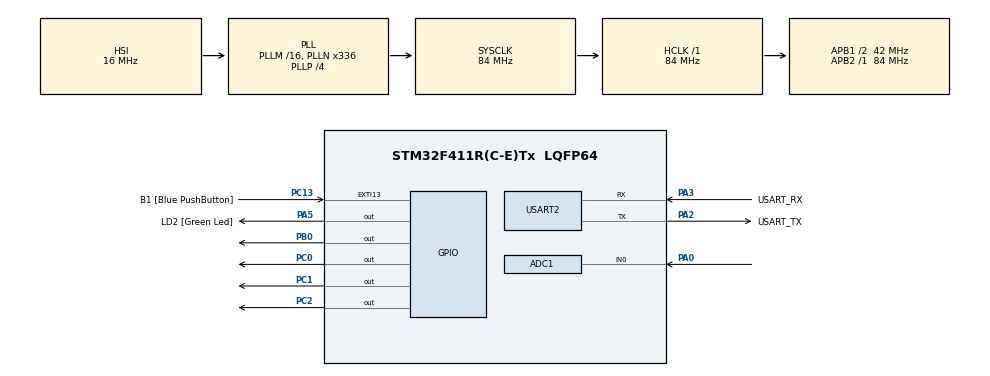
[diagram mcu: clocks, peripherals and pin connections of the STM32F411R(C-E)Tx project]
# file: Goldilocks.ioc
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ADC1.Channel-1\#ChannelRegularConversion=ADC_CHANNEL_0
ADC1.NbrOfConversionFlag=1
ADC1.Rank-1\#ChannelRegularConversion=1
ADC1.SamplingTime-1\#ChannelRegularConversion=ADC_SAMPLETIME_3CYCLES
ADC1.master=1
Mcu.Family=STM32F4
Mcu.Name=STM32F411R(C-E)Tx
Mcu.Package=LQFP64
NVIC.EXTI15_10_IRQn=true\:0\:0\:false\:false\:true\:true\:true\:true
NVIC.PriorityGroup=NVIC_PRIORITYGROUP_0
PA0-WKUP.Signal=ADCx_IN0
PA13.GPIO_Label=TMS
PA13.Mode=Serial_Wire
PA13.Signal=SYS_JTMS-SWDIO
PA14.GPIO_Label=TCK
PA14.Mode=Serial_Wire
PA14.Signal=SYS_JTCK-SWCLK
PA2.GPIO_Label=USART_TX
PA2.Mode=Asynchronous
PA2.Signal=USART2_TX
PA3.GPIO_Label=USART_RX
PA3.Mode=Asynchronous
PA3.Signal=USART2_RX
PA5.GPIO_Label=LD2 [Green Led]
PA5.Signal=GPIO_Output
PB0.GPIO_ModeDefaultOutputPP=GPIO_MODE_OUTPUT_OD
PB0.GPIO_PuPd=GPIO_PULLUP
PB0.Signal=GPIO_Output
PB3.GPIO_Label=SWO
PB3.Signal=SYS_JTDO-SWO
PC0.Signal=GPIO_Output
PC1.Signal=GPIO_Output
PC13-ANTI_TAMP.GPIO_Label=B1 [Blue PushButton]
PC13-ANTI_TAMP.GPIO_ModeDefaultEXTI=GPIO_MODE_IT_RISING
PC13-ANTI_TAMP.Signal=GPXTI13
PC14-OSC32_IN.Mode=LSE-External-Oscillator
PC14-OSC32_IN.Signal=RCC_OSC32_IN
PC15-OSC32_OUT.Mode=LSE-External-Oscillator
PC15-OSC32_OUT.Signal=RCC_OSC32_OUT
PC2.Signal=GPIO_Output
PH0\ -\ OSC_IN.Mode=HSE-External-Clock-Source
PH0\ -\ OSC_IN.Signal=RCC_OSC_IN
PH1\ -\ OSC_OUT.Mode=HSE-External-Clock-Source
PH1\ -\ OSC_OUT.Signal=RCC_OSC_OUT
ProjectManager.HeapSize=0x200
ProjectManager.StackSize=0x400
ProjectManager.TargetToolchain=STM32CubeIDE
RCC.48MHZClocksFreq_Value=84000000
RCC.AHBFreq_Value=84000000
RCC.APB1CLKDivider=RCC_HCLK_DIV2
RCC.APB1Freq_Value=42000000
RCC.APB1TimFreq_Value=84000000
RCC.APB2Freq_Value=84000000
RCC.APB2TimFreq_Value=84000000
RCC.CortexFreq_Value=84000000
RCC.FLatency-AdvancedSettings=FLASH_LATENCY_2
RCC.HCLKFreq_Value=84000000
RCC.HSE_VALUE=8000000
RCC.HSI_VALUE=16000000
RCC.PLLN=336
RCC.PLLP=RCC_PLLP_DIV4
RCC.SYSCLKFreq_VALUE=84000000
RCC.SYSCLKSource=RCC_SYSCLKSOURCE_PLLCLK
RCC.VCOOutputFreq_Value=336000000
SH.ADCx_IN0.0=ADC1_IN0,IN0
USART2.VirtualMode=VM_ASYNC
board=NUCLEO-F411RE

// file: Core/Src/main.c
/* USER CODE BEGIN Header */
/**
  ******************************************************************************
  * @file           : main.c
  * @brief          : Main program body
  ******************************************************************************
  * @attention
  *
  * Copyright (c) 2026 STMicroelectronics.
  * All rights reserved.
  *
  * This software is licensed under terms that can be found in the LICENSE file
  * in the root directory of this software component.
  * If no LICENSE file comes with this software, it is provided AS-IS.
  *
  ******************************************************************************
  */
/* USER CODE END Header */
#include "main.h"

/* USER CODE BEGIN Includes */
#include <stdio.h>
#include <string.h>
/* USER CODE END Includes */

/* USER CODE BEGIN PD */
#define SOIL_ADC_TIMEOUT_MS       100U
#define SENSOR_INTERVAL_MS        5000U
#define BUTTON_DEBOUNCE_MS        200U
#define DHT_DATA_PORT             GPIOB
#define DHT_DATA_PIN              GPIO_PIN_0
#define RGB_PORT                  GPIOC
#define RGB_RED_PIN               GPIO_PIN_0
#define RGB_GREEN_PIN             GPIO_PIN_1
#define RGB_BLUE_PIN              GPIO_PIN_2
/* USER CODE END PD */

ADC_HandleTypeDef hadc1;

UART_HandleTypeDef huart2;

/* USER CODE BEGIN PV */
typedef enum
{
  LED_OFF = 0,
  LED_RED,
  LED_GREEN,
  LED_BLUE
} RGB_State_t;

volatile RGB_State_t rgb_state = LED_OFF;
static uint32_t last_button_tick = 0;
static uint32_t cycles_per_us = 84U;
/* USER CODE END PV */

void SystemClock_Config(void);
static void MX_GPIO_Init(void);
static void MX_USART2_UART_Init(void);
static void MX_ADC1_Init(void);
/* USER CODE BEGIN PFP */
static void DWT_Delay_Init(void);
static void delay_us(uint32_t us);
static uint8_t DHT11_Read(uint8_t *humidity, uint8_t *temperature);
static uint8_t DHT11_WaitForLevel(GPIO_PinState level, uint32_t timeout_us);
static uint16_t Soil_ReadADC(void);
static void RGB_Set(RGB_State_t state);
/* USER CODE END PFP */

/* USER CODE BEGIN 0 */
/* DWT cycle counter provides microsecond timing for the DHT11 protocol. */
static void DWT_Delay_Init(void)
{
  CoreDebug->DEMCR |= CoreDebug_DEMCR_TRCENA_Msk;
  DWT->CYCCNT = 0;
  DWT->CTRL |= DWT_CTRL_CYCCNTENA_Msk;
  cycles_per_us = HAL_RCC_GetHCLKFreq() / 1000000U;
  if (cycles_per_us == 0U) cycles_per_us = 1U;
}

static void delay_us(uint32_t us)
{
  uint32_t start = DWT->CYCCNT;
  uint32_t cycles = us * cycles_per_us;
  while ((uint32_t)(DWT->CYCCNT - start) < cycles) { }
}

static uint8_t DHT11_WaitForLevel(GPIO_PinState level, uint32_t timeout_us)
{
  uint32_t start = DWT->CYCCNT;
  uint32_t timeout_cycles = timeout_us * cycles_per_us;

  while (HAL_GPIO_ReadPin(DHT_DATA_PORT, DHT_DATA_PIN) != level)
  {
    if ((uint32_t)(DWT->CYCCNT - start) >= timeout_cycles)
      return 0U;
  }
  return 1U;
}

/* Reads the KY-015 (DHT11-compatible) sensor. Returns 1 on valid data. */
static uint8_t DHT11_Read(uint8_t *humidity, uint8_t *temperature)
{
  GPIO_InitTypeDef GPIO_InitStruct = {0};
  uint8_t data[5] = {0};

  /* Host start pulse: hold DATA low for at least 18 ms. */
  GPIO_InitStruct.Pin = DHT_DATA_PIN;
  GPIO_InitStruct.Mode = GPIO_MODE_OUTPUT_OD;
  GPIO_InitStruct.Pull = GPIO_PULLUP;
  GPIO_InitStruct.Speed = GPIO_SPEED_FREQ_LOW;
  HAL_GPIO_Init(DHT_DATA_PORT, &GPIO_InitStruct);
  HAL_GPIO_WritePin(DHT_DATA_PORT, DHT_DATA_PIN, GPIO_PIN_SET);
  HAL_GPIO_WritePin(DHT_DATA_PORT, DHT_DATA_PIN, GPIO_PIN_RESET);
  HAL_Delay(18);
  HAL_GPIO_WritePin(DHT_DATA_PORT, DHT_DATA_PIN, GPIO_PIN_SET);
  delay_us(30);

  /* Release the bus so the sensor can respond. */
  GPIO_InitStruct.Mode = GPIO_MODE_INPUT;
  GPIO_InitStruct.Pull = GPIO_PULLUP;
  HAL_GPIO_Init(DHT_DATA_PORT, &GPIO_InitStruct);

  if (!DHT11_WaitForLevel(GPIO_PIN_RESET, 120U)) goto dht_error;
  if (!DHT11_WaitForLevel(GPIO_PIN_SET, 120U)) goto dht_error;
  if (!DHT11_WaitForLevel(GPIO_PIN_RESET, 120U)) goto dht_error;

  /* Each bit starts with a low pulse, followed by a high pulse.
     A longer high pulse represents logic 1. */
  for (uint8_t bit = 0; bit < 40U; bit++)
  {
    uint32_t high_start;
    uint32_t high_cycles;

    if (!DHT11_WaitForLevel(GPIO_PIN_SET, 100U)) goto dht_error;
    high_start = DWT->CYCCNT;
    if (!DHT11_WaitForLevel(GPIO_PIN_RESET, 100U)) goto dht_error;
    high_cycles = (uint32_t)(DWT->CYCCNT - high_start);

    data[bit / 8U] <<= 1;
    if (high_cycles > (40U * cycles_per_us))
      data[bit / 8U] |= 1U;
  }

  /* Return PB0 to its idle, released open-drain state. */
  GPIO_InitStruct.Mode = GPIO_MODE_OUTPUT_OD;
  GPIO_InitStruct.Pull = GPIO_PULLUP;
  HAL_GPIO_Init(DHT_DATA_PORT, &GPIO_InitStruct);
  HAL_GPIO_WritePin(DHT_DATA_PORT, DHT_DATA_PIN, GPIO_PIN_SET);

  if ((uint8_t)(data[0] + data[1] + data[2] + data[3]) != data[4])
    return 0U;

  *humidity = data[0];
  *temperature = data[2];
  return 1U;

dht_error:
  /* Restore the pin to its idle state even if communication times out. */
  GPIO_InitStruct.Mode = GPIO_MODE_OUTPUT_OD;
  GPIO_InitStruct.Pull = GPIO_PULLUP;
  HAL_GPIO_Init(DHT_DATA_PORT, &GPIO_InitStruct);
  HAL_GPIO_WritePin(DHT_DATA_PORT, DHT_DATA_PIN, GPIO_PIN_SET);
  return 0U;
}

static uint16_t Soil_ReadADC(void)
{
  uint16_t value = 0;
  if (HAL_ADC_Start(&hadc1) == HAL_OK)
  {
    if (HAL_ADC_PollForConversion(&hadc1, SOIL_ADC_TIMEOUT_MS) == HAL_OK)
      value = (uint16_t)HAL_ADC_GetValue(&hadc1);
    HAL_ADC_Stop(&hadc1);
  }
  return value;
}

/* Assumes a common-cathode RGB LED module (HIGH = colour ON). */
static void RGB_Set(RGB_State_t state)
{
  HAL_GPIO_WritePin(RGB_PORT, RGB_RED_PIN | RGB_GREEN_PIN | RGB_BLUE_PIN,
                    GPIO_PIN_RESET);
  if (state == LED_RED)
    HAL_GPIO_WritePin(RGB_PORT, RGB_RED_PIN, GPIO_PIN_SET);
  else if (state == LED_GREEN)
    HAL_GPIO_WritePin(RGB_PORT, RGB_GREEN_PIN, GPIO_PIN_SET);
  else if (state == LED_BLUE)
    HAL_GPIO_WritePin(RGB_PORT, RGB_BLUE_PIN, GPIO_PIN_SET);
}
/* USER CODE END 0 */

int main(void)
{

  /* MCU Configuration--------------------------------------------------------*/

  /* Reset of all peripherals, Initializes the Flash interface and the Systick. */
  HAL_Init();

  /* Configure the system clock */
  SystemClock_Config();

  /* Initialize all configured peripherals */
  MX_GPIO_Init();
  MX_USART2_UART_Init();
  MX_ADC1_Init();
  /* USER CODE BEGIN 2 */
  DWT_Delay_Init();
  RGB_Set(LED_OFF);
  HAL_GPIO_WritePin(DHT_DATA_PORT, DHT_DATA_PIN, GPIO_PIN_SET);
  /* USER CODE END 2 */

  /* Infinite loop */
  while (1)
  {

    /* USER CODE BEGIN 3 */
    static uint32_t last_sample_tick = 0;
    static char uart_message[160];
    uint32_t now = HAL_GetTick();

    /* Reflect the latest button-selected RGB colour. */
    RGB_Set(rgb_state);

    /* Read both sensors and transmit a line every 5 seconds. */
    if ((now - last_sample_tick) >= SENSOR_INTERVAL_MS)
    {
      uint16_t soil_raw;
      uint32_t soil_millivolts;
      uint8_t humidity = 0;
      uint8_t temperature = 0;
      uint8_t dht_ok;
      int length;

      last_sample_tick = now;
      soil_raw = Soil_ReadADC();
      soil_millivolts = ((uint32_t)soil_raw * 3300U) / 4095U;
      dht_ok = DHT11_Read(&humidity, &temperature);

      if (dht_ok)
      {
        length = snprintf(uart_message, sizeof(uart_message),
                          "Soil_ADC=%u, Soil_mV=%lu, Temperature=%u C, Humidity=%u %%\r\n",
                          soil_raw, (unsigned long)soil_millivolts,
                          temperature, humidity);
      }
      else
      {
        length = snprintf(uart_message, sizeof(uart_message),
                          "Soil_ADC=%u, Soil_mV=%lu, DHT11=READ_ERROR\r\n",
                          soil_raw, (unsigned long)soil_millivolts);
      }

      if (length > 0)
        HAL_UART_Transmit(&huart2, (uint8_t *)uart_message,
                          (uint16_t)length, HAL_MAX_DELAY);
    }
  }
  /* USER CODE END 3 */
}

void SystemClock_Config(void)
{
  RCC_OscInitTypeDef RCC_OscInitStruct = {0};
  RCC_ClkInitTypeDef RCC_ClkInitStruct = {0};

  /** Configure the main internal regulator output voltage
  */
  __HAL_RCC_PWR_CLK_ENABLE();
  __HAL_PWR_VOLTAGESCALING_CONFIG(PWR_REGULATOR_VOLTAGE_SCALE1);

  /** Initializes the RCC Oscillators according to the specified parameters
  * in the RCC_OscInitTypeDef structure.
  */
  RCC_OscInitStruct.OscillatorType = RCC_OSCILLATORTYPE_HSI;
  RCC_OscInitStruct.HSIState = RCC_HSI_ON;
  RCC_OscInitStruct.HSICalibrationValue = RCC_HSICALIBRATION_DEFAULT;
  RCC_OscInitStruct.PLL.PLLState = RCC_PLL_ON;
  RCC_OscInitStruct.PLL.PLLSource = RCC_PLLSOURCE_HSI;
  RCC_OscInitStruct.PLL.PLLM = 16;
  RCC_OscInitStruct.PLL.PLLN = 336;
  RCC_OscInitStruct.PLL.PLLP = RCC_PLLP_DIV4;
  RCC_OscInitStruct.PLL.PLLQ = 4;
  if (HAL_RCC_OscConfig(&RCC_OscInitStruct) != HAL_OK)
  {
    Error_Handler();
  }

  /** Initializes the CPU, AHB and APB buses clocks
  */
  RCC_ClkInitStruct.ClockType = RCC_CLOCKTYPE_HCLK|RCC_CLOCKTYPE_SYSCLK
                              |RCC_CLOCKTYPE_PCLK1|RCC_CLOCKTYPE_PCLK2;
  RCC_ClkInitStruct.SYSCLKSource = RCC_SYSCLKSOURCE_PLLCLK;
  RCC_ClkInitStruct.AHBCLKDivider = RCC_SYSCLK_DIV1;
  RCC_ClkInitStruct.APB1CLKDivider = RCC_HCLK_DIV2;
  RCC_ClkInitStruct.APB2CLKDivider = RCC_HCLK_DIV1;

  if (HAL_RCC_ClockConfig(&RCC_ClkInitStruct, FLASH_LATENCY_2) != HAL_OK)
  {
    Error_Handler();
  }
}

static void MX_ADC1_Init(void)
{

  ADC_ChannelConfTypeDef sConfig = {0};

  /** Configure the global features of the ADC (Clock, Resolution, Data Alignment and number of conversion)
  */
  hadc1.Instance = ADC1;
  hadc1.Init.ClockPrescaler = ADC_CLOCK_SYNC_PCLK_DIV4;
  hadc1.Init.Resolution = ADC_RESOLUTION_12B;
  hadc1.Init.ScanConvMode = DISABLE;
  hadc1.Init.ContinuousConvMode = DISABLE;
  hadc1.Init.DiscontinuousConvMode = DISABLE;
  hadc1.Init.ExternalTrigConvEdge = ADC_EXTERNALTRIGCONVEDGE_NONE;
  hadc1.Init.ExternalTrigConv = ADC_SOFTWARE_START;
  hadc1.Init.DataAlign = ADC_DATAALIGN_RIGHT;
  hadc1.Init.NbrOfConversion = 1;
  hadc1.Init.DMAContinuousRequests = DISABLE;
  hadc1.Init.EOCSelection = ADC_EOC_SINGLE_CONV;
  if (HAL_ADC_Init(&hadc1) != HAL_OK)
  {
    Error_Handler();
  }

  /** Configure for the selected ADC regular channel its corresponding rank in the sequencer and its sample time.
  */
  sConfig.Channel = ADC_CHANNEL_0;
  sConfig.Rank = 1;
  sConfig.SamplingTime = ADC_SAMPLETIME_3CYCLES;
  if (HAL_ADC_ConfigChannel(&hadc1, &sConfig) != HAL_OK)
  {
    Error_Handler();
  }

}

static void MX_USART2_UART_Init(void)
{

  huart2.Instance = USART2;
  huart2.Init.BaudRate = 115200;
  huart2.Init.WordLength = UART_WORDLENGTH_8B;
  huart2.Init.StopBits = UART_STOPBITS_1;
  huart2.Init.Parity = UART_PARITY_NONE;
  huart2.Init.Mode = UART_MODE_TX_RX;
  huart2.Init.HwFlowCtl = UART_HWCONTROL_NONE;
  huart2.Init.OverSampling = UART_OVERSAMPLING_16;
  if (HAL_UART_Init(&huart2) != HAL_OK)
  {
    Error_Handler();
  }

}

static void MX_GPIO_Init(void)
{
  GPIO_InitTypeDef GPIO_InitStruct = {0};

  /* GPIO Ports Clock Enable */
  __HAL_RCC_GPIOC_CLK_ENABLE();
  __HAL_RCC_GPIOH_CLK_ENABLE();
  __HAL_RCC_GPIOA_CLK_ENABLE();
  __HAL_RCC_GPIOB_CLK_ENABLE();

  /*Configure GPIO pin Output Level */
  HAL_GPIO_WritePin(GPIOC, GPIO_PIN_0|GPIO_PIN_1|GPIO_PIN_2, GPIO_PIN_RESET);

  /*Configure GPIO pin Output Level */
  HAL_GPIO_WritePin(LD2_GPIO_Port, LD2_Pin, GPIO_PIN_RESET);

  /*Configure GPIO pin Output Level */
  HAL_GPIO_WritePin(GPIOB, GPIO_PIN_0, GPIO_PIN_RESET);

  /*Configure GPIO pin : B1_Pin */
  GPIO_InitStruct.Pin = B1_Pin;
  GPIO_InitStruct.Mode = GPIO_MODE_IT_RISING;
  GPIO_InitStruct.Pull = GPIO_NOPULL;
  HAL_GPIO_Init(B1_GPIO_Port, &GPIO_InitStruct);

  /*Configure GPIO pins : PC0 PC1 PC2 */
  GPIO_InitStruct.Pin = GPIO_PIN_0|GPIO_PIN_1|GPIO_PIN_2;
  GPIO_InitStruct.Mode = GPIO_MODE_OUTPUT_PP;
  GPIO_InitStruct.Pull = GPIO_NOPULL;
  GPIO_InitStruct.Speed = GPIO_SPEED_FREQ_LOW;
  HAL_GPIO_Init(GPIOC, &GPIO_InitStruct);

  /*Configure GPIO pin : LD2_Pin */
  GPIO_InitStruct.Pin = LD2_Pin;
  GPIO_InitStruct.Mode = GPIO_MODE_OUTPUT_PP;
  GPIO_InitStruct.Pull = GPIO_NOPULL;
  GPIO_InitStruct.Speed = GPIO_SPEED_FREQ_LOW;
  HAL_GPIO_Init(LD2_GPIO_Port, &GPIO_InitStruct);

  /*Configure GPIO pin : PB0 */
  GPIO_InitStruct.Pin = GPIO_PIN_0;
  GPIO_InitStruct.Mode = GPIO_MODE_OUTPUT_OD;
  GPIO_InitStruct.Pull = GPIO_PULLUP;
  GPIO_InitStruct.Speed = GPIO_SPEED_FREQ_LOW;
  HAL_GPIO_Init(GPIOB, &GPIO_InitStruct);

  /* EXTI interrupt init*/
  HAL_NVIC_SetPriority(EXTI15_10_IRQn, 0, 0);
  HAL_NVIC_EnableIRQ(EXTI15_10_IRQn);

}

/* USER CODE BEGIN 4 */
void HAL_GPIO_EXTI_Callback(uint16_t GPIO_Pin)
{
  if (GPIO_Pin == B1_Pin)
  {
    uint32_t tick = HAL_GetTick();
    if ((tick - last_button_tick) >= BUTTON_DEBOUNCE_MS)
    {
      last_button_tick = tick;
      rgb_state = (RGB_State_t)((rgb_state + 1U) % 4U);
    }
  }
}
/* USER CODE END 4 */

void Error_Handler(void)
{
  __disable_irq();
  while (1)
  {
  }
}
